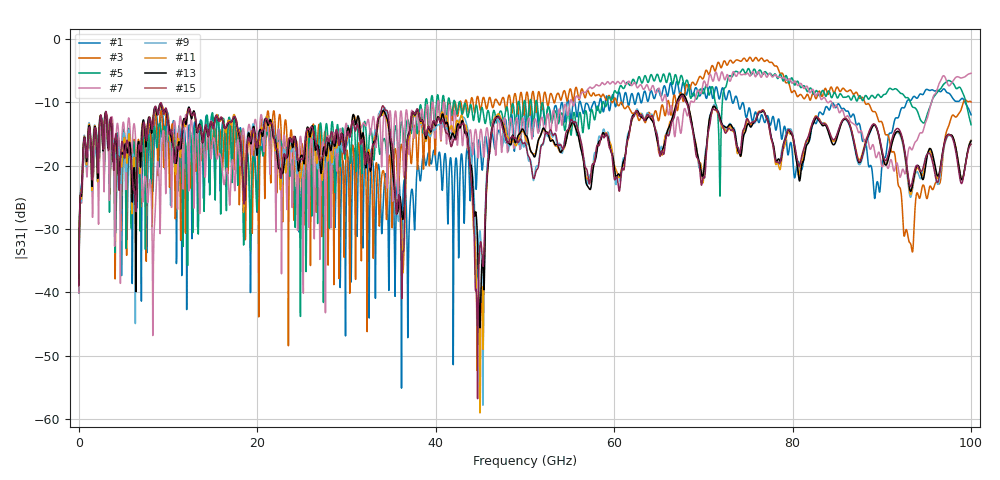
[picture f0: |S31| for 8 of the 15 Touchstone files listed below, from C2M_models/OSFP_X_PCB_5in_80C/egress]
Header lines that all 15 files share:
# GHz S RI R 45
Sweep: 25 MHz to 100 GHz
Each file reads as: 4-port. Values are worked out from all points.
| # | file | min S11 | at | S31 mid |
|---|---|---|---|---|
| 1 | C2M_X_OSFP224_5in_host_PCB_80C_FEXT_TP0_Tx1_to_TP1a_Tx7.s4p | -69.5 dB | 18.5 GHz | -12.5 dB at 50.02 GHz |
| 2 | C2M_X_OSFP224_5in_host_PCB_80C_FEXT_TP0_Tx2_to_TP1a_Tx7.s4p | -45.1 dB | 24 GHz | -12.9 dB at 50.02 GHz |
| 3 | C2M_X_OSFP224_5in_host_PCB_80C_FEXT_TP0_Tx3_to_TP1a_Tx7.s4p | -50.3 dB | 10.85 GHz | -10.4 dB at 50.02 GHz |
| 4 | C2M_X_OSFP224_5in_host_PCB_80C_FEXT_TP0_Tx4_to_TP1a_Tx7.s4p | -49.6 dB | 25.93 GHz | -9.8 dB at 50.02 GHz |
| 5 | C2M_X_OSFP224_5in_host_PCB_80C_FEXT_TP0_Tx5_to_TP1a_Tx7.s4p | -46.2 dB | 19.23 GHz | -9.9 dB at 50.02 GHz |
| 6 | C2M_X_OSFP224_5in_host_PCB_80C_FEXT_TP0_Tx6_to_TP1a_Tx7.s4p | -44.6 dB | 22.93 GHz | -11.1 dB at 50.02 GHz |
| 7 | C2M_X_OSFP224_5in_host_PCB_80C_FEXT_TP0_Tx8_to_TP1a_Tx7.s4p | -47.7 dB | 98.65 GHz | -15.8 dB at 50.02 GHz |
| 8 | C2M_X_OSFP224_5in_host_PCB_80C_NEXT_TP1a_Rx1_to_TP1a_Tx7.s4p | -37.5 dB | 45.2 GHz | -15.2 dB at 50.02 GHz |
| 9 | C2M_X_OSFP224_5in_host_PCB_80C_NEXT_TP1a_Rx2_to_TP1a_Tx7.s4p | -65.9 dB | 43.27 GHz | -16.5 dB at 50.02 GHz |
| 10 | C2M_X_OSFP224_5in_host_PCB_80C_NEXT_TP1a_Rx3_to_TP1a_Tx7.s4p | -41.8 dB | 26.6 GHz | -13.5 dB at 50.02 GHz |
| 11 | C2M_X_OSFP224_5in_host_PCB_80C_NEXT_TP1a_Rx4_to_TP1a_Tx7.s4p | -44.6 dB | 27.88 GHz | -15.4 dB at 50.02 GHz |
| 12 | C2M_X_OSFP224_5in_host_PCB_80C_NEXT_TP1a_Rx5_to_TP1a_Tx7.s4p | -64.8 dB | 45.25 GHz | -13.4 dB at 50.02 GHz |
| 13 | C2M_X_OSFP224_5in_host_PCB_80C_NEXT_TP1a_Rx6_to_TP1a_Tx7.s4p | -47.4 dB | 27.73 GHz | -15.0 dB at 50.02 GHz |
| 14 | C2M_X_OSFP224_5in_host_PCB_80C_NEXT_TP1a_Rx7_to_TP1a_Tx7.s4p | -50.7 dB | 33.88 GHz | -14.5 dB at 50.02 GHz |
| 15 | C2M_X_OSFP224_5in_host_PCB_80C_NEXT_TP1a_Rx8_to_TP1a_Tx7.s4p | -47.1 dB | 29.77 GHz | -16.4 dB at 50.02 GHz |
